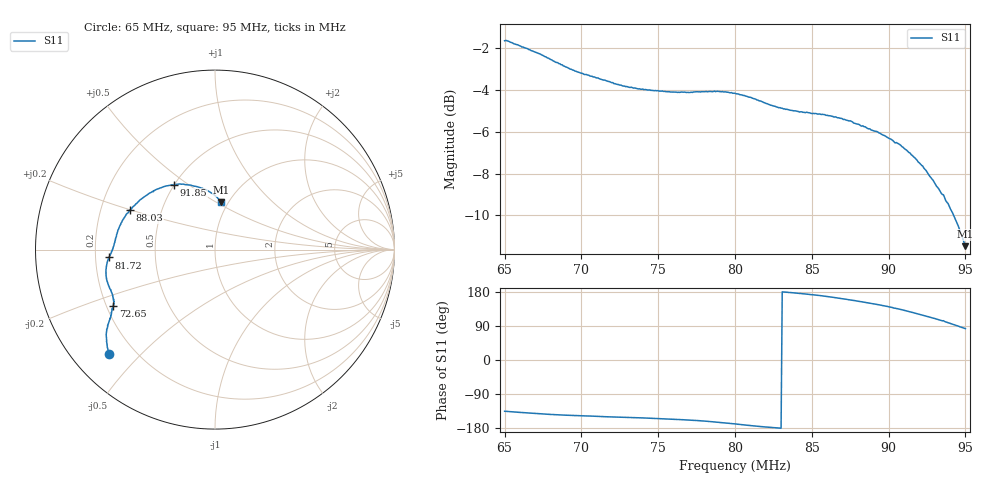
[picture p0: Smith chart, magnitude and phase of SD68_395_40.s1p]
! NanoVNA-App
! Date: 2025-08-02 16:12:48
! Start: 65MHz Stop: 95MHz Points: 401
! S-Parameter data: F S11
# Hz S RI R 50
!  Frequency  S11_Real  S11_Imag
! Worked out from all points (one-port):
!   401 points, 65 MHz to 95 MHz, reference 50 ohm
!   lowest |S11| = -11.5 dB at 95 MHz (marker M1), VSWR 1.73, Z = 46.3 + j26.4 ohm
!   |S11| at or under -10 dB: 94.23 MHz to end of sweep
!   S11 on the Smith chart (normalised r, x): 65 MHz: 0.11, -0.41; 72.65 MHz: 0.23, -0.25; 81.72 MHz: 0.26, -0.03; 88.03 MHz: 0.33, +0.20; 91.85 MHz: 0.50, +0.44; 95 MHz: 0.93, +0.53
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6.5e7  -0.5886 -0.5829
6.5225e7  -0.5928 -0.5765
6.59e7  -0.6007 -0.5412
6.725e7  -0.6056 -0.4778
6.875e7  -0.5951 -0.4146
6.9725e7  -0.5841 -0.3816
7.25e7  -0.5672 -0.3142
7.265e7  -0.5655 -0.3128
7.4225e7  -0.5648 -0.2844
7.625e7  -0.573 -0.2438
7.73e7  -0.5838 -0.2212
7.8275e7  -0.5954 -0.1923
8e7  -0.6078 -0.1223
8.1725e7  -0.5911 -0.0435
8.375e7  -0.563 0.0251
8.585e7  -0.5395 0.1119
8.75e7  -0.4956 0.1953
8.8025e7  -0.4736 0.2212
8.9225e7  -0.4205 0.2745
8.9825e7  -0.3857 0.3001
9.0725e7  -0.3246 0.3361
9.125e7  -0.2805 0.3519
9.185e7  -0.2291 0.3621
9.2375e7  -0.1813 0.3648
9.35e7  -0.082 0.345
9.4025e7  -0.0364 0.3254
9.4475e7  -0.00123 0.302
9.5e7  0.0338 0.2644
